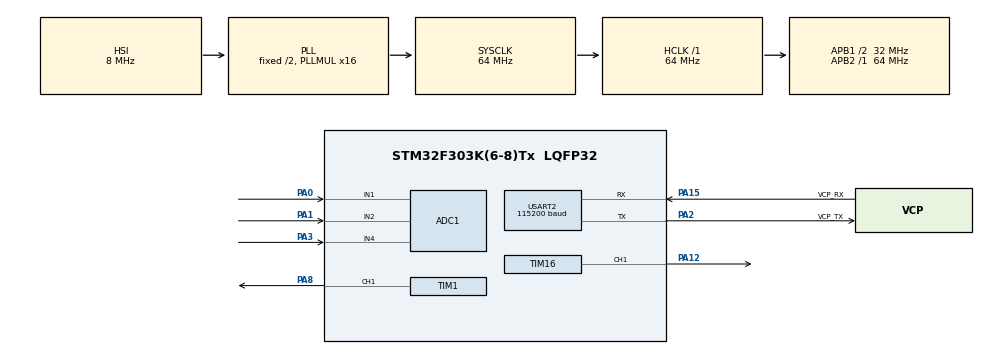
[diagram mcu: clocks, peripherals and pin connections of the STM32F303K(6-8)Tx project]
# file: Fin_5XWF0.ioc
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ADC1.Channel-0\#ChannelRegularConversion=ADC_CHANNEL_1
ADC1.Channel-1\#ChannelRegularConversion=ADC_CHANNEL_2
ADC1.Channel-2\#ChannelRegularConversion=ADC_CHANNEL_4
ADC1.ClockPrescaler=ADC_CLOCK_SYNC_PCLK_DIV1
ADC1.ContinuousConvMode=DISABLE
ADC1.DMAContinuousRequests=ENABLE
ADC1.ExternalTrigConv=ADC_EXTERNALTRIGCONV_T1_TRGO
ADC1.NbrOfConversion=3
ADC1.NbrOfConversionFlag=1
ADC1.Offset-0\#ChannelRegularConversion=0
ADC1.Offset-1\#ChannelRegularConversion=0
ADC1.Offset-2\#ChannelRegularConversion=0
ADC1.OffsetNumber-0\#ChannelRegularConversion=ADC_OFFSET_NONE
ADC1.OffsetNumber-1\#ChannelRegularConversion=ADC_OFFSET_NONE
ADC1.OffsetNumber-2\#ChannelRegularConversion=ADC_OFFSET_NONE
ADC1.Rank-0\#ChannelRegularConversion=1
ADC1.Rank-1\#ChannelRegularConversion=2
ADC1.Rank-2\#ChannelRegularConversion=3
ADC1.SamplingTime-0\#ChannelRegularConversion=ADC_SAMPLETIME_1CYCLE_5
ADC1.SamplingTime-1\#ChannelRegularConversion=ADC_SAMPLETIME_1CYCLE_5
ADC1.SamplingTime-2\#ChannelRegularConversion=ADC_SAMPLETIME_1CYCLE_5
ADC1.SubFamily=STM32F303x8
ADC1.master=1
Dma.ADC1.0.Direction=DMA_PERIPH_TO_MEMORY
Dma.ADC1.0.Instance=DMA1_Channel1
Dma.ADC1.0.MemDataAlignment=DMA_MDATAALIGN_WORD
Dma.ADC1.0.MemInc=DMA_MINC_ENABLE
Dma.ADC1.0.Mode=DMA_CIRCULAR
Dma.ADC1.0.PeriphDataAlignment=DMA_PDATAALIGN_WORD
Dma.ADC1.0.PeriphInc=DMA_PINC_DISABLE
Dma.ADC1.0.Priority=DMA_PRIORITY_LOW
Dma.Request0=ADC1
Mcu.Family=STM32F3
Mcu.Name=STM32F303K(6-8)Tx
Mcu.Package=LQFP32
NVIC.DMA1_Channel1_IRQn=true\:0\:0\:false\:false\:true\:false\:true\:true
NVIC.PriorityGroup=NVIC_PRIORITYGROUP_4
PA0.Mode=IN1-Single-Ended
PA0.Signal=ADC1_IN1
PA1.Mode=IN2-Single-Ended
PA1.Signal=ADC1_IN2
PA12.Signal=S_TIM16_CH1
PA13.GPIO_Label=SWDIO
PA13.Mode=Serial_Wire
PA13.Signal=SYS_JTMS-SWDIO
PA14.GPIO_Label=SWCLK
PA14.Mode=Serial_Wire
PA14.Signal=SYS_JTCK-SWCLK
PA15.GPIO_Label=VCP_RX
PA15.Mode=Asynchronous
PA15.Signal=USART2_RX
PA2.GPIO_Label=VCP_TX
PA2.Mode=Asynchronous
PA2.Signal=USART2_TX
PA3.Mode=IN4-Single-Ended
PA3.Signal=ADC1_IN4
PA8.Signal=S_TIM1_CH1
PF0\ /\ OSC_IN.GPIO_Label=MCO
PF0\ /\ OSC_IN.Mode=HSE-External-Clock-Source
PF0\ /\ OSC_IN.Signal=RCC_OSC_IN
ProjectManager.HeapSize=0x200
ProjectManager.StackSize=0x400
ProjectManager.TargetToolchain=STM32CubeIDE
RCC.AHBFreq_Value=64000000
RCC.APB1CLKDivider=RCC_HCLK_DIV2
RCC.APB1Freq_Value=32000000
RCC.APB1TimFreq_Value=64000000
RCC.APB2Freq_Value=64000000
RCC.APB2TimFreq_Value=64000000
RCC.CortexFreq_Value=64000000
RCC.HCLKFreq_Value=64000000
RCC.HSE_VALUE=8000000
RCC.HSI_VALUE=8000000
RCC.PLLMUL=RCC_PLL_MUL16
RCC.SYSCLKFreq_VALUE=64000000
RCC.SYSCLKSourceVirtual=RCC_SYSCLKSOURCE_PLLCLK
SH.S_TIM16_CH1.0=TIM16_CH1,PWM Generation1 CH1
SH.S_TIM1_CH1.0=TIM1_CH1,PWM Generation1 CH1
TIM1.Channel-PWM\ Generation1\ CH1=TIM_CHANNEL_1
TIM1.CounterMode=TIM_COUNTERMODE_CENTERALIGNED1
TIM1.RepetitionCounter=1
TIM1.TIM_MasterOutputTrigger=TIM_TRGO_UPDATE
TIM16.Channel=TIM_CHANNEL_1
TIM16.RepetitionCounter=1
USART2.BaudRate=115200
USART2.VirtualMode-Asynchronous=VM_ASYNC
VP_TIM16_VS_ClockSourceINT.Mode=Enable_Timer
VP_TIM1_VS_ClockSourceINT.Mode=Internal
board=NUCLEO-F303K8

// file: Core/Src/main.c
/* USER CODE BEGIN Header */
/**
  ******************************************************************************
  * @file           : main.c
  * @brief          : Main program body
  ******************************************************************************
  * @attention
  *
  * Copyright (c) 2022 STMicroelectronics.
  * All rights reserved.
  *
  * This software is licensed under terms that can be found in the LICENSE file
  * in the root directory of this software component.
  * If no LICENSE file comes with this software, it is provided AS-IS.
  *
  ******************************************************************************
  */
/* USER CODE END Header */
#include "main.h"

/* USER CODE BEGIN Includes */
#include "stdlib.h"
#include "stdio.h"
#include "string.h"
/* USER CODE END Includes */

ADC_HandleTypeDef hadc1;
DMA_HandleTypeDef hdma_adc1;

TIM_HandleTypeDef htim1;
TIM_HandleTypeDef htim16;

UART_HandleTypeDef huart2;

/* USER CODE BEGIN PV */
// UART
uint8_t TxStartMessage[] = "\r\n***** Example 2 - 5XWF0 *****\r\n";

// ADC
uint32_t ADC_Buff[3];
uint32_t adc_val_1;
uint32_t adc_val_2;
uint32_t adc_val_3;
float meas_volt_1 = 0.0f;
float meas_volt_2 = 0.0f;
float meas_volt_3 = 0.0f;

// PWM DC
uint32_t PWM_Freq_DC = 60000;
float PWM_DutyC_DC = 50;
int32_t PWM_Period_DC;
int32_t PWM_PulseWidth_DC;

// PWM AC
uint32_t PWM_Freq_AC = 60000;
float PWM_DutyC_AC = 50;
int32_t PWM_Period_AC;
int32_t PWM_PulseWidth_AC;

/* USER CODE END PV */

void SystemClock_Config(void);
static void MX_GPIO_Init(void);
static void MX_USART2_UART_Init(void);
static void MX_DMA_Init(void);
static void MX_ADC1_Init(void);
static void MX_TIM1_Init(void);
static void MX_TIM16_Init(void);

/* USER CODE BEGIN 0 */
#ifdef __GNUC__
    #define PUTCHAR_PROTOTYPE int __io_putchar(int ch)
#else
    #define PUTCHAR_PROTOTYPE int fputc(int ch,FILE *f)
#endif

PUTCHAR_PROTOTYPE
{
    HAL_UART_Transmit(&huart2, (uint8_t *)&ch, 1, 0xFFF);

    return ch;
}

/* USER CODE END 0 */

int main(void)
{

  /* MCU Configuration--------------------------------------------------------*/

  /* Reset of all peripherals, Initializes the Flash interface and the Systick. */
  HAL_Init();

  /* Configure the system clock */
  SystemClock_Config();

  /* Initialize all configured peripherals */
  MX_GPIO_Init();
  MX_USART2_UART_Init();
  MX_DMA_Init();
  MX_ADC1_Init();
  MX_TIM1_Init();
  MX_TIM16_Init();
  /* USER CODE BEGIN 2 */

  printf("%s",TxStartMessage);

  //DC-AC PWM
  PWM_Period_AC = 64000000/(2*PWM_Freq_AC)-1;
  PWM_PulseWidth_AC = (int)((PWM_Period_AC*PWM_DutyC_AC)/100);

  __HAL_TIM_SET_AUTORELOAD(&htim16, PWM_Period_AC);
  __HAL_TIM_SET_COMPARE(&htim16, TIM_CHANNEL_1, PWM_PulseWidth_AC);
  HAL_TIM_PWM_Start(&htim16, TIM_CHANNEL_1);

  //DC-DC PWM
  PWM_Period_DC = 64000000/(2*PWM_Freq_DC)-1;
  PWM_PulseWidth_DC = (int)((PWM_Period_DC*PWM_DutyC_DC)/100);

  __HAL_TIM_SET_AUTORELOAD(&htim1, PWM_Period_DC);
  __HAL_TIM_SET_COMPARE(&htim1, TIM_CHANNEL_1, PWM_PulseWidth_DC);
  HAL_TIM_PWM_Start(&htim1, TIM_CHANNEL_1);

  HAL_ADCEx_Calibration_Start(&hadc1, ADC_SINGLE_ENDED);
  HAL_ADC_Start_DMA(&hadc1, (uint32_t*)ADC_Buff, 3);

  /* USER CODE END 2 */

  /* Infinite loop */
  /* USER CODE BEGIN WHILE */
  while (1)
  {
	  PWM_DutyC_AC = 50;	// Conversion range 0-3.3V to 0-100%
	  PWM_PulseWidth_AC = (int)((PWM_Period_AC*PWM_DutyC_AC)/100);
	  __HAL_TIM_SET_COMPARE(&htim16, TIM_CHANNEL_1, PWM_PulseWidth_AC);
//	  printf("ADC Voltage: %.2f V - Duty Cycle %d\r\n", meas_volt_1, (int)PWM_DutyC_DC);
	  printf("Test\r\n");
	  PWM_DutyC_DC = 50;	// Conversion range 0-3.3V to 0-100%
	  PWM_PulseWidth_DC = (int)((PWM_Period_DC*PWM_DutyC_DC)/100);
	  __HAL_TIM_SET_COMPARE(&htim1, TIM_CHANNEL_1, PWM_PulseWidth_DC);
//	  printf("ADC Voltage: %.2f V - Duty Cycle %d\r\n", meas_volt_1, (int)PWM_DutyC_DC);
	  HAL_Delay(1000);

  }
    /* USER CODE END WHILE */

}

void SystemClock_Config(void)
{
  RCC_OscInitTypeDef RCC_OscInitStruct = {0};
  RCC_ClkInitTypeDef RCC_ClkInitStruct = {0};
  RCC_PeriphCLKInitTypeDef PeriphClkInit = {0};

  /** Initializes the RCC Oscillators according to the specified parameters
  * in the RCC_OscInitTypeDef structure.
  */
  RCC_OscInitStruct.OscillatorType = RCC_OSCILLATORTYPE_HSI;
  RCC_OscInitStruct.HSIState = RCC_HSI_ON;
  RCC_OscInitStruct.HSICalibrationValue = RCC_HSICALIBRATION_DEFAULT;
  RCC_OscInitStruct.PLL.PLLState = RCC_PLL_ON;
  RCC_OscInitStruct.PLL.PLLSource = RCC_PLLSOURCE_HSI;
  RCC_OscInitStruct.PLL.PLLMUL = RCC_PLL_MUL16;
  if (HAL_RCC_OscConfig(&RCC_OscInitStruct) != HAL_OK)
  {
    Error_Handler();
  }
  /** Initializes the CPU, AHB and APB buses clocks
  */
  RCC_ClkInitStruct.ClockType = RCC_CLOCKTYPE_HCLK|RCC_CLOCKTYPE_SYSCLK
                              |RCC_CLOCKTYPE_PCLK1|RCC_CLOCKTYPE_PCLK2;
  RCC_ClkInitStruct.SYSCLKSource = RCC_SYSCLKSOURCE_PLLCLK;
  RCC_ClkInitStruct.AHBCLKDivider = RCC_SYSCLK_DIV1;
  RCC_ClkInitStruct.APB1CLKDivider = RCC_HCLK_DIV2;
  RCC_ClkInitStruct.APB2CLKDivider = RCC_HCLK_DIV1;

  if (HAL_RCC_ClockConfig(&RCC_ClkInitStruct, FLASH_LATENCY_2) != HAL_OK)
  {
    Error_Handler();
  }
  PeriphClkInit.PeriphClockSelection = RCC_PERIPHCLK_TIM1;
  PeriphClkInit.Tim1ClockSelection = RCC_TIM1CLK_HCLK;
  if (HAL_RCCEx_PeriphCLKConfig(&PeriphClkInit) != HAL_OK)
  {
    Error_Handler();
  }
}

static void MX_ADC1_Init(void)
{

  ADC_MultiModeTypeDef multimode = {0};
  ADC_ChannelConfTypeDef sConfig = {0};

  /** Common config
  */
  hadc1.Instance = ADC1;
  hadc1.Init.ClockPrescaler = ADC_CLOCK_SYNC_PCLK_DIV1;
  hadc1.Init.Resolution = ADC_RESOLUTION_12B;
  hadc1.Init.ScanConvMode = ADC_SCAN_ENABLE;
  hadc1.Init.ContinuousConvMode = DISABLE;
  hadc1.Init.DiscontinuousConvMode = DISABLE;
  hadc1.Init.ExternalTrigConvEdge = ADC_EXTERNALTRIGCONVEDGE_RISING;
  hadc1.Init.ExternalTrigConv = ADC_EXTERNALTRIGCONV_T1_TRGO;
  hadc1.Init.DataAlign = ADC_DATAALIGN_RIGHT;
  hadc1.Init.NbrOfConversion = 3;
  hadc1.Init.DMAContinuousRequests = ENABLE;
  hadc1.Init.EOCSelection = ADC_EOC_SINGLE_CONV;
  hadc1.Init.LowPowerAutoWait = DISABLE;
  hadc1.Init.Overrun = ADC_OVR_DATA_OVERWRITTEN;
  if (HAL_ADC_Init(&hadc1) != HAL_OK)
  {
    Error_Handler();
  }
  /** Configure the ADC multi-mode
  */
  multimode.Mode = ADC_MODE_INDEPENDENT;
  if (HAL_ADCEx_MultiModeConfigChannel(&hadc1, &multimode) != HAL_OK)
  {
    Error_Handler();
  }
  /** Configure Regular Channel
  */
  sConfig.Channel = ADC_CHANNEL_1;
  sConfig.Rank = ADC_REGULAR_RANK_1;
  sConfig.SingleDiff = ADC_SINGLE_ENDED;
  sConfig.SamplingTime = ADC_SAMPLETIME_1CYCLE_5;
  sConfig.OffsetNumber = ADC_OFFSET_NONE;
  sConfig.Offset = 0;
  if (HAL_ADC_ConfigChannel(&hadc1, &sConfig) != HAL_OK)
  {
    Error_Handler();
  }
  /** Configure Regular Channel
  */
  sConfig.Channel = ADC_CHANNEL_2;
  sConfig.Rank = ADC_REGULAR_RANK_2;
  if (HAL_ADC_ConfigChannel(&hadc1, &sConfig) != HAL_OK)
  {
    Error_Handler();
  }
  /** Configure Regular Channel
  */
  sConfig.Channel = ADC_CHANNEL_4;
  sConfig.Rank = ADC_REGULAR_RANK_3;
  if (HAL_ADC_ConfigChannel(&hadc1, &sConfig) != HAL_OK)
  {
    Error_Handler();
  }

}

static void MX_TIM1_Init(void)
{

  TIM_ClockConfigTypeDef sClockSourceConfig = {0};
  TIM_MasterConfigTypeDef sMasterConfig = {0};
  TIM_OC_InitTypeDef sConfigOC = {0};
  TIM_BreakDeadTimeConfigTypeDef sBreakDeadTimeConfig = {0};

  htim1.Instance = TIM1;
  htim1.Init.Prescaler = 0;
  htim1.Init.CounterMode = TIM_COUNTERMODE_CENTERALIGNED1;
  htim1.Init.Period = 65535;
  htim1.Init.ClockDivision = TIM_CLOCKDIVISION_DIV1;
  htim1.Init.RepetitionCounter = 1;
  htim1.Init.AutoReloadPreload = TIM_AUTORELOAD_PRELOAD_DISABLE;
  if (HAL_TIM_Base_Init(&htim1) != HAL_OK)
  {
    Error_Handler();
  }
  sClockSourceConfig.ClockSource = TIM_CLOCKSOURCE_INTERNAL;
  if (HAL_TIM_ConfigClockSource(&htim1, &sClockSourceConfig) != HAL_OK)
  {
    Error_Handler();
  }
  if (HAL_TIM_PWM_Init(&htim1) != HAL_OK)
  {
    Error_Handler();
  }
  sMasterConfig.MasterOutputTrigger = TIM_TRGO_UPDATE;
  sMasterConfig.MasterOutputTrigger2 = TIM_TRGO2_RESET;
  sMasterConfig.MasterSlaveMode = TIM_MASTERSLAVEMODE_DISABLE;
  if (HAL_TIMEx_MasterConfigSynchronization(&htim1, &sMasterConfig) != HAL_OK)
  {
    Error_Handler();
  }
  sConfigOC.OCMode = TIM_OCMODE_PWM1;
  sConfigOC.Pulse = 0;
  sConfigOC.OCPolarity = TIM_OCPOLARITY_HIGH;
  sConfigOC.OCNPolarity = TIM_OCNPOLARITY_HIGH;
  sConfigOC.OCFastMode = TIM_OCFAST_DISABLE;
  sConfigOC.OCIdleState = TIM_OCIDLESTATE_RESET;
  sConfigOC.OCNIdleState = TIM_OCNIDLESTATE_RESET;
  if (HAL_TIM_PWM_ConfigChannel(&htim1, &sConfigOC, TIM_CHANNEL_1) != HAL_OK)
  {
    Error_Handler();
  }
  sBreakDeadTimeConfig.OffStateRunMode = TIM_OSSR_DISABLE;
  sBreakDeadTimeConfig.OffStateIDLEMode = TIM_OSSI_DISABLE;
  sBreakDeadTimeConfig.LockLevel = TIM_LOCKLEVEL_OFF;
  sBreakDeadTimeConfig.DeadTime = 0;
  sBreakDeadTimeConfig.BreakState = TIM_BREAK_DISABLE;
  sBreakDeadTimeConfig.BreakPolarity = TIM_BREAKPOLARITY_HIGH;
  sBreakDeadTimeConfig.BreakFilter = 0;
  sBreakDeadTimeConfig.Break2State = TIM_BREAK2_DISABLE;
  sBreakDeadTimeConfig.Break2Polarity = TIM_BREAK2POLARITY_HIGH;
  sBreakDeadTimeConfig.Break2Filter = 0;
  sBreakDeadTimeConfig.AutomaticOutput = TIM_AUTOMATICOUTPUT_DISABLE;
  if (HAL_TIMEx_ConfigBreakDeadTime(&htim1, &sBreakDeadTimeConfig) != HAL_OK)
  {
    Error_Handler();
  }
  HAL_TIM_MspPostInit(&htim1);

}

static void MX_TIM16_Init(void)
{

  TIM_OC_InitTypeDef sConfigOC = {0};
  TIM_BreakDeadTimeConfigTypeDef sBreakDeadTimeConfig = {0};

  htim16.Instance = TIM16;
  htim16.Init.Prescaler = 0;
  htim16.Init.CounterMode = TIM_COUNTERMODE_UP;
  htim16.Init.Period = 65535;
  htim16.Init.ClockDivision = TIM_CLOCKDIVISION_DIV1;
  htim16.Init.RepetitionCounter = 1;
  htim16.Init.AutoReloadPreload = TIM_AUTORELOAD_PRELOAD_DISABLE;
  if (HAL_TIM_Base_Init(&htim16) != HAL_OK)
  {
    Error_Handler();
  }
  if (HAL_TIM_PWM_Init(&htim16) != HAL_OK)
  {
    Error_Handler();
  }
  sConfigOC.OCMode = TIM_OCMODE_PWM1;
  sConfigOC.Pulse = 0;
  sConfigOC.OCPolarity = TIM_OCPOLARITY_HIGH;
  sConfigOC.OCNPolarity = TIM_OCNPOLARITY_HIGH;
  sConfigOC.OCFastMode = TIM_OCFAST_DISABLE;
  sConfigOC.OCIdleState = TIM_OCIDLESTATE_RESET;
  sConfigOC.OCNIdleState = TIM_OCNIDLESTATE_RESET;
  if (HAL_TIM_PWM_ConfigChannel(&htim16, &sConfigOC, TIM_CHANNEL_1) != HAL_OK)
  {
    Error_Handler();
  }
  sBreakDeadTimeConfig.OffStateRunMode = TIM_OSSR_DISABLE;
  sBreakDeadTimeConfig.OffStateIDLEMode = TIM_OSSI_DISABLE;
  sBreakDeadTimeConfig.LockLevel = TIM_LOCKLEVEL_OFF;
  sBreakDeadTimeConfig.DeadTime = 0;
  sBreakDeadTimeConfig.BreakState = TIM_BREAK_DISABLE;
  sBreakDeadTimeConfig.BreakPolarity = TIM_BREAKPOLARITY_HIGH;
  sBreakDeadTimeConfig.BreakFilter = 0;
  sBreakDeadTimeConfig.AutomaticOutput = TIM_AUTOMATICOUTPUT_DISABLE;
  if (HAL_TIMEx_ConfigBreakDeadTime(&htim16, &sBreakDeadTimeConfig) != HAL_OK)
  {
    Error_Handler();
  }
  HAL_TIM_MspPostInit(&htim16);

}

static void MX_USART2_UART_Init(void)
{

  huart2.Instance = USART2;
  huart2.Init.BaudRate = 115200;
  huart2.Init.WordLength = UART_WORDLENGTH_8B;
  huart2.Init.StopBits = UART_STOPBITS_1;
  huart2.Init.Parity = UART_PARITY_NONE;
  huart2.Init.Mode = UART_MODE_TX_RX;
  huart2.Init.HwFlowCtl = UART_HWCONTROL_NONE;
  huart2.Init.OverSampling = UART_OVERSAMPLING_16;
  huart2.Init.OneBitSampling = UART_ONE_BIT_SAMPLE_DISABLE;
  huart2.AdvancedInit.AdvFeatureInit = UART_ADVFEATURE_NO_INIT;
  if (HAL_UART_Init(&huart2) != HAL_OK)
  {
    Error_Handler();
  }

}

static void MX_DMA_Init(void)
{

  /* DMA controller clock enable */
  __HAL_RCC_DMA1_CLK_ENABLE();

  /* DMA interrupt init */
  /* DMA1_Channel1_IRQn interrupt configuration */
  HAL_NVIC_SetPriority(DMA1_Channel1_IRQn, 0, 0);
  HAL_NVIC_EnableIRQ(DMA1_Channel1_IRQn);

}

static void MX_GPIO_Init(void)
{

  /* GPIO Ports Clock Enable */
  __HAL_RCC_GPIOF_CLK_ENABLE();
  __HAL_RCC_GPIOA_CLK_ENABLE();

}

/* USER CODE BEGIN 4 */

void HAL_ADC_ConvCpltCallback(ADC_HandleTypeDef* hadc)
{
	// Prevent unused argument(s) compilation warning
	UNUSED(hadc);

		adc_val_1 = ADC_Buff[0];	//DC-DC Current sensor output value
		adc_val_2 = ADC_Buff[1];	//DC-DC Voltage output value
		adc_val_3 = ADC_Buff[2];	//DC-DC Voltage input value

		meas_volt_1 = (((float)adc_val_1)/4095.0f)*3.3f;
		meas_volt_2 = (((float)adc_val_2)/4095.0f)*3.3f;
		meas_volt_3 = (((float)adc_val_3)/4095.0f)*3.3f;
}

/* USER CODE END 4 */

void Error_Handler(void)
{
  __disable_irq();
  while (1)
  {
  }
}
